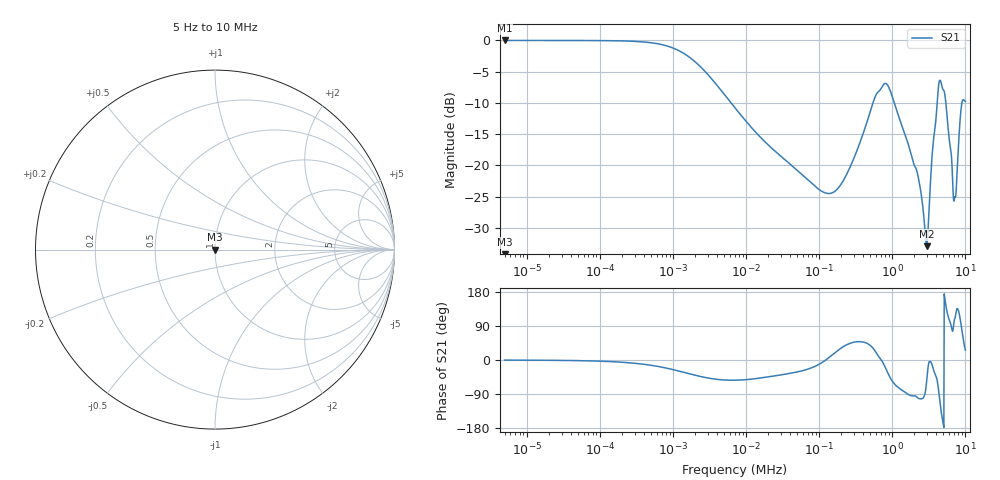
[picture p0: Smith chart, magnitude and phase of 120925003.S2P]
!Agilent Technologies,E5061B,MY49204007,A.02.12
!Date: Fri Sep 12 09:48:42 2025
!Data & Calibration Information:
!Freq	S11:SOLT2(OFF)	S21:SOLT2(OFF)	S12:SOLT2(OFF)	S22:SOLT2(OFF)
# Hz S dB R 50
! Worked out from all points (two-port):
!   1041 points, 5 Hz to 10 MHz, reference 50 ohm
!   highest |S21| = -0.04 dB at 5 Hz (marker M1); lowest = -32.9 dB at 2.953 MHz (marker M2)
!   |S21| within 3 dB of the highest: start of sweep to 1.829 kHz
!   lowest |S11| = - dB at 5 Hz (marker M3), VSWR 1.00, Z = 50 + j0 ohm
!   |S11| at or under -10 dB: start of sweep to end of sweep
!   S12 and S22 are empty: the file has one direction only
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5  -200.00 0.0  -0.04 -0.3  -200.00 0.0  -200.00 0.0
56.522  -200.00 0.0  -0.05 -1.8  -200.00 0.0  -200.00 0.0
632.897  -200.00 0.0  -0.58 -17.2  -200.00 0.0  -200.00 0.0
1929.818  -200.00 0.0  -3.26 -39.3  -200.00 0.0  -200.00 0.0
7154.49  -200.00 0.0  -10.88 -53.3  -200.00 0.0  -200.00 0.0
80111.67  -200.00 0.0  -22.88 -20.1  -200.00 0.0  -200.00 0.0
189469.2  -200.00 0.0  -23.37 28.4  -200.00 0.0  -200.00 0.0
529484.8  -200.00 0.0  -10.46 34.1  -200.00 0.0  -200.00 0.0
738893.7  -200.00 0.0  -7.30 -5.7  -200.00 0.0  -200.00 0.0
893075.1  -200.00 0.0  -7.47 -39.2  -200.00 0.0  -200.00 0.0
1369167  -200.00 0.0  -13.84 -80.2  -200.00 0.0  -200.00 0.0
2240026  -200.00 0.0  -21.58 -100.3  -200.00 0.0  -200.00 0.0
2953077  -200.00 0.0  -32.88 -54.7  -200.00 0.0  -200.00 0.0
3935896  -200.00 0.0  -12.93 -41.6  -200.00 0.0  -200.00 0.0
4441770  -200.00 0.0  -6.42 -103.5  -200.00 0.0  -200.00 0.0
4947644  -200.00 0.0  -7.85 -164.8  -200.00 0.0  -200.00 0.0
5512077  -200.00 0.0  -11.08 134.5  -200.00 0.0  -200.00 0.0
6209332  -200.00 0.0  -17.03 99.1  -200.00 0.0  -200.00 0.0
7080901  -200.00 0.0  -25.32 106.3  -200.00 0.0  -200.00 0.0
8077920  -200.00 0.0  -16.43 128.8  -200.00 0.0  -200.00 0.0
8798700  -200.00 0.0  -10.59 88.2  -200.00 0.0  -200.00 0.0
1e7  -200.00 0.0  -9.78 26.3  -200.00 0.0  -200.00 0.0
